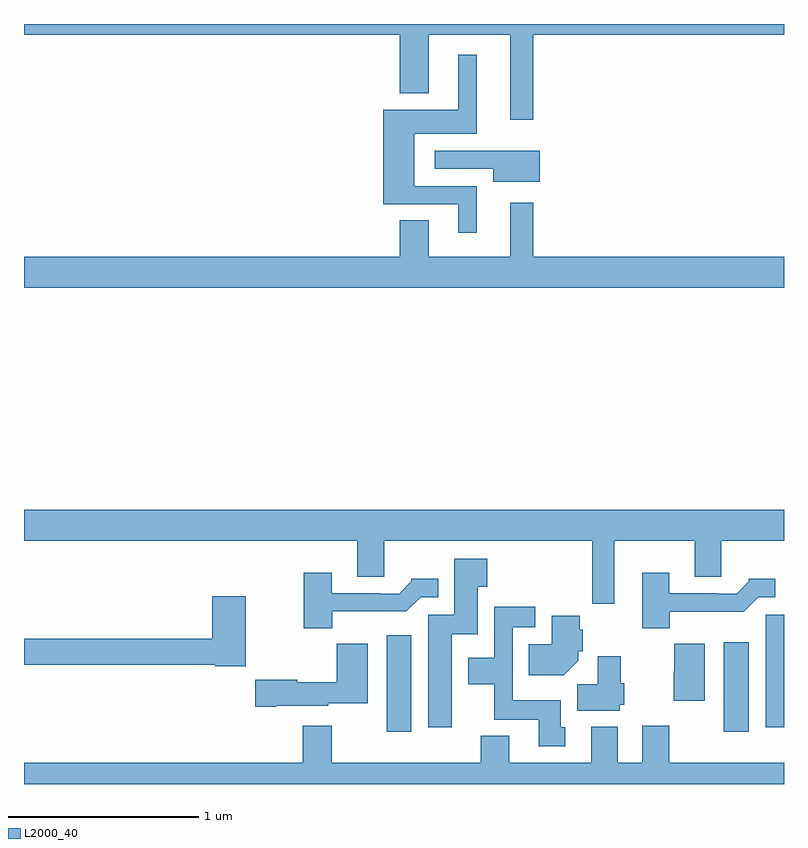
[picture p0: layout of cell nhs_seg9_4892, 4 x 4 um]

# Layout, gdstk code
import gdstk
lib = gdstk.Library(unit=1e-6, precision=1e-09)
def R(c, l, rs):  # rectangles x0, y0, x1, y1
    for r in rs: c.add(gdstk.rectangle(r[:2], r[2:], *l))
def P(c, l, *ps):  # polygons
    for p in ps: c.add(gdstk.Polygon(p, *l))
L2000_40 = (2000, 40)

nhs_seg9_4892 = lib.new_cell('nhs_seg9_4892')
R(nhs_seg9_4892, L2000_40, [(396.908,1168.776,397.039,1169.284), (398.684,1168.776,398.815,1169.245), (398.903,1168.8,399,1169.391)])
P(nhs_seg9_4892, L2000_40, [(397.681,1172.444),(399,1172.444),(399,1172.5),(395,1172.5),(395,1172.444),(396.977,1172.444),(396.977,1172.135),(397.129,1172.135),(397.129,1172.444),(397.559,1172.444),(397.559,1171.995),(397.681,1171.995)],
  [(397.384,1171.647),(397.054,1171.647),(397.054,1171.922),(397.384,1171.922),(397.384,1172.338),(397.286,1172.338),(397.286,1172.05),(396.89,1172.05),(396.89,1171.551),(397.286,1171.551),(397.286,1171.401),(397.384,1171.401)],
  [(397.714,1171.834),(397.473,1171.834),(397.473,1171.833),(397.161,1171.833),(397.161,1171.737),(397.469,1171.737),(397.469,1171.67),(397.714,1171.67)],
  [(399,1171.276),(397.681,1171.276),(397.681,1171.558),(397.559,1171.558),(397.559,1171.276),(397.129,1171.276),(397.129,1171.466),(396.977,1171.466),(396.977,1171.276),(395,1171.276),(395,1171.112),(399,1171.112)],
  [(398.107,1169.78),(398.531,1169.78),(398.531,1169.59),(398.671,1169.59),(398.671,1169.78),(399,1169.78),(399,1169.944),(395,1169.944),(395,1169.78),(396.755,1169.78),(396.755,1169.59),(396.895,1169.59),(396.895,1169.78),(397.99,1169.78),(397.99,1169.448),(398.107,1169.448)],
  [(397.252,1169.288),(397.387,1169.288),(397.387,1169.539),(397.439,1169.539),(397.439,1169.686),(397.265,1169.686),(397.265,1169.391),(397.127,1169.391),(397.127,1168.8),(397.252,1168.8)],
  [(396.622,1169.408),(397.013,1169.408),(397.089,1169.484),(397.18,1169.484),(397.18,1169.581),(397.038,1169.581),(397.038,1169.566),(396.974,1169.502),(396.875,1169.502),(396.875,1169.505),(396.619,1169.505),(396.619,1169.611),(396.472,1169.611),(396.472,1169.321),(396.622,1169.321)],
  [(398.398,1169.406),(398.787,1169.406),(398.865,1169.484),(398.953,1169.484),(398.953,1169.581),(398.814,1169.581),(398.814,1169.566),(398.75,1169.502),(398.651,1169.502),(398.651,1169.505),(398.395,1169.505),(398.395,1169.611),(398.255,1169.611),(398.255,1169.321),(398.398,1169.321)],
  [(396.168,1169.488),(395.99,1169.488),(395.99,1169.264),(395,1169.264),(395,1169.128),(396.006,1169.128),(396.006,1169.12),(396.168,1169.12)],
  [(397.849,1168.8),(397.825,1168.8),(397.825,1168.942),(397.572,1168.942),(397.572,1169.325),(397.69,1169.325),(397.69,1169.434),(397.476,1169.434),(397.476,1169.164),(397.337,1169.164),(397.337,1169.024),(397.474,1169.024),(397.474,1168.838),(397.709,1168.838),(397.709,1168.698),(397.849,1168.698)],
  [(397.918,1169.15),(397.918,1169.199),(397.942,1169.199),(397.942,1169.313),(397.926,1169.313),(397.926,1169.386),(397.778,1169.386),(397.778,1169.236),(397.657,1169.236),(397.657,1169.072),(397.84,1169.072)],
  [(396.328,1168.913),(396.6,1168.913),(396.6,1168.925),(396.808,1168.925),(396.808,1169.239),(396.646,1169.239),(396.646,1169.035),(396.438,1169.035),(396.438,1169.048),(396.216,1169.048),(396.216,1168.906),(396.328,1168.906)],
  [(398.584,1169.239),(398.422,1169.239),(398.422,1169.091),(398.42,1169.091),(398.42,1168.938),(398.584,1168.938)],
  [(398.136,1168.917),(398.158,1168.917),(398.158,1169.031),(398.14,1169.031),(398.14,1169.173),(398.019,1169.173),(398.019,1169.024),(397.913,1169.024),(397.913,1168.886),(398.136,1168.886)],
  [(399,1168.612),(398.395,1168.612),(398.395,1168.807),(398.255,1168.807),(398.255,1168.612),(398.125,1168.612),(398.125,1168.801),(397.985,1168.801),(397.985,1168.612),(397.555,1168.612),(397.555,1168.753),(397.403,1168.753),(397.403,1168.612),(396.619,1168.612),(396.619,1168.807),(396.467,1168.807),(396.467,1168.612),(395,1168.612),(395,1168.5),(399,1168.5)])

lib.write_gds('nhs_seg9_4892.gds')
